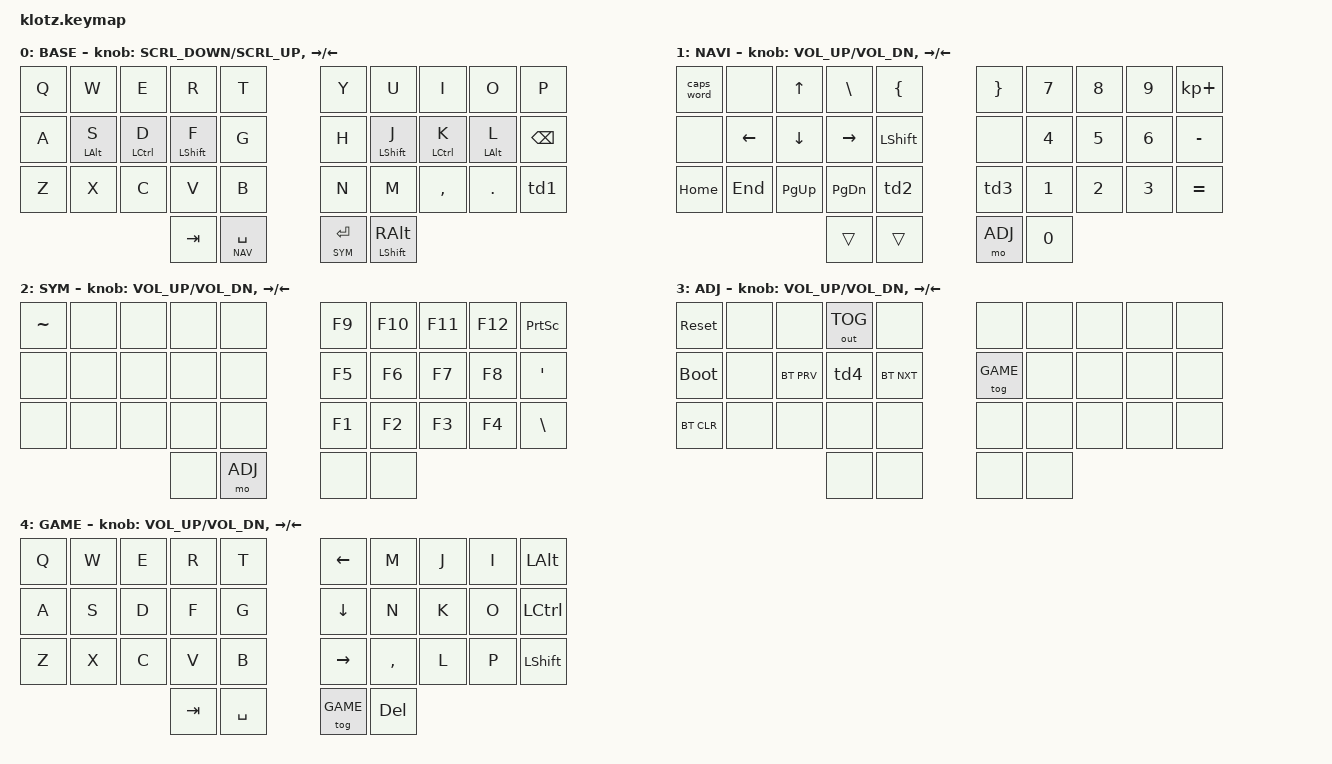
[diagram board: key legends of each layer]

//                                      █         ██        ▄▀▀▀▀▀▀▀▀▀▀█▀▀▀▀▀▀▀▀█▀▀▀▀▀▀▀▀▀▀█
//                                      █        █ █      ▄▀            ▀▄      █         █
//                                      █       █  █    ▄▀                ▀▄    █        █
//                                      █      █   █   █                    █   █       █
//                                      █     █    █   █                    █   █      █
//                                      █    █     █   █                    █   █  ▀▀▀█▀▀▀▀
//                                      █   █ █    █   █                    █   █    █
//                                      █  █   █   █   █                    █   █   █
//                                      █ █     █  █    ▀▄                ▄▀    █  █
//                                      ██       █ █      ▀▄            ▄▀      █ █
//                                      █         ██▄▄▄▄▄▄▄▄█▄▄▄▄▄▄▄▄▄▄▀        ██▄▄▄▄▄▄▄▄▄▄
//
// ▄▄▄▄▄▄▄▄▄▄▄▄▄▄▄▄▄▄▄▄▄▄▄▄▄▄▄▄▄▄▄▄▄▄▄▄▄▄▄▄▄▄▄▄▄▄▄▄▄▄▄▄▄▄▄▄▄▄▄▄▄▄▄▄▄▄▄▄▄▄▄▄▄▄▄▄▄▄▄▄▄▄▄▄▄▄▄▄▄▄▄▄▄▄▄▄▄▄▄▄▄▄▄▄▄▄▄▄▄▄▄▄▄▄▄▄▄▄▄▄▄▄▄▄▄
       

#include <behaviors.dtsi>
#include <dt-bindings/zmk/keys.h>
#include <dt-bindings/zmk/bt.h>
#include <dt-bindings/zmk/outputs.h>
#include <dt-bindings/zmk/ext_power.h>
#include <dt-bindings/zmk/hid_usage.h>
#include <dt-bindings/zmk/hid_usage_pages.h>
#include <dt-bindings/zmk/modifiers.h>
#include <behaviors/mouse_keys.dtsi>

#define ZMK_POINTING_DEFAULT_SCRL_VAL 20
#include <dt-bindings/zmk/pointing.h>

#define BASE 0
#define NAV  1
#define SYM  2
#define ADJ  3
#define GAME 4

#define COMBO(NAME, BINDINGS, KEYPOS) \
  combo_##NAME { \
    timeout-ms = <50>; \
    bindings = <BINDINGS>; \
    key-positions = <KEYPOS>; \
    layers = <0>; \
  };

&mt {
  tapping-term-ms = <240>;
  flavor = "balanced";
  quick-tap-ms = <150>;
};

&lt {
    tapping-term-ms = <240>;
    flavor = "balanced";
    quick-tap-ms = <150>;
};

/{
        combos {
                compatible = "zmk,combos";
                                              
	        COMBO(ctrl+c, &kp LC(C), 21 22)
                COMBO(ctrl+v, &kp LC(V), 22 23)
                COMBO(ctrl+x, &kp LC(X), 20 21)
                COMBO(win, &kp LGUI, 20 31)
                COMBO(dcq, &kp LS(Q), 00 10)
                COMBO(dcw, &kp LS(W), 01 11)
                COMBO(dce, &kp LS(E), 02 12)
                COMBO(dcr, &kp LS(R), 03 13)
                COMBO(dct, &kp LS(T), 04 14)
		COMBO(del, &kp DEL, 14 24)
		COMBO(semi, &kp SEMI, 19 29)
		COMBO(esc, &kp ESC, 00 31)
		COMBO(right, &kp RIGHT, 13 14)
    };

        behaviors {
        hm: homerow_mods {
            compatible = "zmk,behavior-hold-tap";
            label = "HOMEROW_MODS";
            #binding-cells = <2>;
            flavor = "tap-preferred";
            tapping-term-ms = <170>;
            quick-tap-ms = <100>;
            global-quick-tap;
            bindings =
                <&kp>,
                <&kp>;
        };
    };

	behaviors {
	td0: tap_dance_0 {
        compatible = "zmk,behavior-tap-dance";
        #binding-cells = <0>;
        tapping-term-ms = <300>;
        bindings = <&sys_reset>, <&bootloader>;
        };	
        td1: tap_dance_1 {
        compatible = "zmk,behavior-tap-dance";
        #binding-cells = <0>;
        tapping-term-ms = <300>;
        bindings = <&kp FSLH>, <&kp QMARK>;
	};
	td2: tap_dance_2 {
        compatible = "zmk,behavior-tap-dance";
        #binding-cells = <0>;
        tapping-term-ms = <200>;
        bindings = <&kp LPAR>, <&kp LBKT>, <&kp LBRC>;
	};
	td3: tap_dance_3 {
        compatible = "zmk,behavior-tap-dance";
        #binding-cells = <0>;
        tapping-term-ms = <200>;
        bindings = <&kp RPAR>, <&kp RBKT>, <&kp RBRC>;    
        }; 
	td4: tap_dance_4 {
        compatible = "zmk,behavior-tap-dance";
        #binding-cells = <0>;
        tapping-term-ms = <300>;
        bindings = <&bt BT_SEL 0>, <&bt BT_SEL 1>, <&bt BT_SEL 2>, <&bt BT_SEL 3>, <&bt BT_SEL 4>;
        };
};
        inc_dec_msc: sensor_rotation_scroll {
            compatible = "zmk,behavior-sensor-rotate-var";
            #sensor-binding-cells = <2>;
            bindings = <&msc>, <&msc>;
            tap-ms = <200>;
        };
  

    macros {
       
    };

        keymap {
                compatible = "zmk,keymap";
// ▄▄▄▄▄▄▄▄▄▄▄▄▄▄▄▄▄▄▄▄▄▄▄▄▄▄▄▄▄▄▄▄▄▄▄▄▄▄▄▄▄▄▄▄▄▄▄▄▄▄▄▄▄▄▄▄▄▄▄▄▄▄▄▄▄▄▄▄▄▄▄▄▄▄▄▄▄▄▄▄▄▄▄▄▄▄▄▄▄▄▄▄▄▄▄▄▄▄▄▄▄▄▄▄▄▄▄▄▄▄▄▄▄▄▄▄▄▄▄▄▄▄▄▄▄


                base_layer {
// ┏━━━━━━━━━━━━━━━━━━━━━━━━━━━━━━━━━━━━━━━┓
label= "BASE"                              ;
// ┗━━━━━━━━━━━━━━━━━━━━━━━━━━━━━━━━━━━━━━━┛
// ┏━━━━━━━━━━━┳━━━━━━━━━━━┳━━━━━━━━━━━┳━━━━━━━━━━━┳━━━━━━━━━━━┓   ┏━━━━━━━━━━━┳━━━━━━━━━━━┳━━━━━━━━━━━┳━━━━━━━━━━━┳━━━━━━━━━━━┓
// ┃     Q     ┃     W     ┃     F     ┃     P     ┃     G     ┃   ┃     J     ┃     L     ┃     U     ┃     Y     ┃     ;     ┃
// ┣━━━━━━━━━━━╋━━━━━━━━━━━╋━━━━━━━━━━━╋━━━━━━━━━━━╋━━━━━━━━━━━┫   ┣━━━━━━━━━━━╋━━━━━━━━━━━╋━━━━━━━━━━━╋━━━━━━━━━━━╋━━━━━━━━━━━┫
// ┃     A     ┃     R     ┃     S     ┃     T     ┃     D     ┃   ┃     H     ┃     N     ┃     E     ┃     I     ┃     O     ┃
// ┣━━━━━━━━━━━╋━━━━━━━━━━━╋━━━━━━━━━━━╋━━━━━━━━━━━╋━━━━━━━━━━━┫   ┣━━━━━━━━━━━╋━━━━━━━━━━━╋━━━━━━━━━━━╋━━━━━━━━━━━╋━━━━━━━━━━━┫
// ┃     Z     ┃     X     ┃     C     ┃     V     ┃     B     ┃   ┃     K     ┃     M     ┃     ,     ┃     .     ┃     /     ┃
// ┗━━━━━━━━━━━┻━━━━━━━━━━━┻━━━━━━━━━━━╋━━━━━━━━━━━╋━━━━━━━━━━━┫   ┣━━━━━━━━━━━╋━━━━━━━━━━━╋━━━━━━━━━━━┻━━━━━━━━━━━┻━━━━━━━━━━━┛
//                                     ┃    TAB    ┃    SPC    ┃   ┃   ENTER   ┃   BSPC    ┃
//                                     ┗━━━━━━━━━━━┻━━━━━━━━━━━┛   ┗━━━━━━━━━━━┻━━━━━━━━━━━┛
 bindings = <
// ╷           ╷           ╷           ╷           ╷           ╷   ╷           ╷           ╷           ╷           ╷           ╷

    &kp Q       &kp W       &kp E       &kp R       &kp T           &kp Y       &kp U         &kp I       &kp O       &kp P
    &kp A       &hm LALT S  &hm LCTRL D &hm LSHFT F &kp G           &kp H       &hm LSHFT J   &hm LCTRL K &hm LALT L  &kp BSPC
    &kp Z       &kp X       &kp C       &kp V       &kp B           &kp N       &kp M         &kp COMMA   &kp DOT     &td1
                                        &kp TAB     &lt NAV SPACE   &lt SYM RET  &mt LSHFT RALT    
                        >;
           	sensor-bindings = <&inc_dec_msc SCRL_DOWN SCRL_UP &inc_dec_kp RIGHT LEFT>;
                };

// ▄▄▄▄▄▄▄▄▄▄▄▄▄▄▄▄▄▄▄▄▄▄▄▄▄▄▄▄▄▄▄▄▄▄▄▄▄▄▄▄▄▄▄▄▄▄▄▄▄▄▄▄▄▄▄▄▄▄▄▄▄▄▄▄▄▄▄▄▄▄▄▄▄▄▄▄▄▄▄▄▄▄▄▄▄▄▄▄▄▄▄▄▄▄▄▄▄▄▄▄▄▄▄▄▄▄▄▄▄▄▄▄▄▄▄▄▄▄▄▄▄▄▄▄▄


                nav_layer {
// ┏━━━━━━━━━━━━━━━━━━━━━━━━━━━━━━━━━━━━━━━┓
label= "NAVI"                              ;
// ┗━━━━━━━━━━━━━━━━━━━━━━━━━━━━━━━━━━━━━━━┛
// ┏━━━━━━━━━━━┳━━━━━━━━━━━┳━━━━━━━━━━━┳━━━━━━━━━━━┳━━━━━━━━━━━┓   ┏━━━━━━━━━━━┳━━━━━━━━━━━┳━━━━━━━━━━━┳━━━━━━━━━━━┳━━━━━━━━━━━┓
// ┃           ┃           ┃     UP    ┃           ┃     {     ┃   ┃     }     ┃     7     ┃     8     ┃     9     ┃     +     ┃
// ┣━━━━━━━━━━━╋━━━━━━━━━━━╋━━━━━━━━━━━╋━━━━━━━━━━━╋━━━━━━━━━━━┫   ┣━━━━━━━━━━━╋━━━━━━━━━━━╋━━━━━━━━━━━╋━━━━━━━━━━━╋━━━━━━━━━━━┫
// ┃   SHIFT   ┃   LEFT    ┃    DOWN   ┃   RIGHT   ┃     [     ┃   ┃     ]     ┃     4     ┃     5     ┃     6     ┃     -     ┃
// ┣━━━━━━━━━━━╋━━━━━━━━━━━╋━━━━━━━━━━━╋━━━━━━━━━━━╋━━━━━━━━━━━┫   ┣━━━━━━━━━━━╋━━━━━━━━━━━╋━━━━━━━━━━━╋━━━━━━━━━━━╋━━━━━━━━━━━┫
// ┃           ┃   P UP    ┃  C LOCK   ┃  P DOWN   ┃     (     ┃   ┃     )     ┃     1     ┃     2     ┃     3     ┃     *     ┃
// ┗━━━━━━━━━━━┻━━━━━━━━━━━┻━━━━━━━━━━━╋━━━━━━━━━━━╋━━━━━━━━━━━┫   ┣━━━━━━━━━━━╋━━━━━━━━━━━╋━━━━━━━━━━━┻━━━━━━━━━━━┻━━━━━━━━━━━┛
//                                     ┃           ┃           ┃   ┃    DEL    ┃     0     ┃  
//                                     ┗━━━━━━━━━━━┻━━━━━━━━━━━┛   ┗━━━━━━━━━━━┻━━━━━━━━━━━┛
 bindings = <
// ╷           ╷           ╷           ╷           ╷           ╷   ╷           ╷           ╷           ╷           ╷           ╷

    &caps_word  &none        &kp UP      &kp BSLH    &kp LBRC       &kp RBRC    &kp N7   &kp N8   &kp N9   &kp KP_PLUS
    &none       &kp LEFT     &kp DOWN    &kp RIGHT   &kp LSHFT      &none	&kp N4   &kp N5   &kp N6   &kp MINUS
    &kp HOME    &kp END      &kp PG_UP   &kp PG_DN   &td2           &td3        &kp N1   &kp N2   &kp N3   &kp EQUAL 
                                         &trans      &trans         &mo ADJ     &kp N0  
                        >;
		sensor-bindings = <&inc_dec_kp C_VOL_UP C_VOL_DN &inc_dec_kp RIGHT LEFT>;
                };

// ▄▄▄▄▄▄▄▄▄▄▄▄▄▄▄▄▄▄▄▄▄▄▄▄▄▄▄▄▄▄▄▄▄▄▄▄▄▄▄▄▄▄▄▄▄▄▄▄▄▄▄▄▄▄▄▄▄▄▄▄▄▄▄▄▄▄▄▄▄▄▄▄▄▄▄▄▄▄▄▄▄▄▄▄▄▄▄▄▄▄▄▄▄▄▄▄▄▄▄▄▄▄▄▄▄▄▄▄▄▄▄▄▄▄▄▄▄▄▄▄▄▄▄▄▄


                sim_layer {
// ┏━━━━━━━━━━━━━━━━━━━━━━━━━━━━━━━━━━━━━━━┓
label= "SYM"                               ;
// ┗━━━━━━━━━━━━━━━━━━━━━━━━━━━━━━━━━━━━━━━┛
// ┏━━━━━━━━━━━┳━━━━━━━━━━━┳━━━━━━━━━━━┳━━━━━━━━━━━┳━━━━━━━━━━━┓   ┏━━━━━━━━━━━┳━━━━━━━━━━━┳━━━━━━━━━━━┳━━━━━━━━━━━┳━━━━━━━━━━━┓
// ┃     !     ┃     @     ┃     #     ┃     $     ┃     %     ┃   ┃     ˆ     ┃     &     ┃     Ü     ┃     '     ┃     "     ┃
// ┣━━━━━━━━━━━╋━━━━━━━━━━━╋━━━━━━━━━━━╋━━━━━━━━━━━╋━━━━━━━━━━━┫   ┣━━━━━━━━━━━╋━━━━━━━━━━━╋━━━━━━━━━━━╋━━━━━━━━━━━╋━━━━━━━━━━━┫
// ┃     Ä     ┃           ┃    SZ     ┃           ┃           ┃   ┃   MUTE    ┃   YEN     ┃   EURO    ┃  POUND    ┃     Ö     ┃
// ┣━━━━━━━━━━━╋━━━━━━━━━━━╋━━━━━━━━━━━╋━━━━━━━━━━━╋━━━━━━━━━━━┫   ┣━━━━━━━━━━━╋━━━━━━━━━━━╋━━━━━━━━━━━╋━━━━━━━━━━━╋━━━━━━━━━━━┫
// ┃  EMAIL1   ┃  EMAIL2   ┃           ┃           ┃           ┃   ┃   VOL-    ┃   VOL+    ┃   LAST    ┃   NEXT    ┃     \     ┃
// ┗━━━━━━━━━━━┻━━━━━━━━━━━┻━━━━━━━━━━━╋━━━━━━━━━━━╋━━━━━━━━━━━┫   ┣━━━━━━━━━━━╋━━━━━━━━━━━╋━━━━━━━━━━━┻━━━━━━━━━━━┻━━━━━━━━━━━┛
//                                     ┃    GIF    ┃  ADJUST   ┃   ┃           ┃   PLAY    ┃   
//                                     ┗━━━━━━━━━━━┻━━━━━━━━━━━┛   ┗━━━━━━━━━━━┻━━━━━━━━━━━┛
 bindings = <
// ╷           ╷           ╷           ╷           ╷           ╷   ╷           ╷           ╷           ╷           ╷           ╷

    &kp TILDE   &none       &none       &none       &none           &kp F9      &kp F10    &kp F11     &kp F12    &kp PSCRN       
    &none       &none       &none       &none       &none           &kp F5      &kp F6     &kp F7      &kp F8     &kp APOSTROPHE 
    &none       &none       &none       &none       &none           &kp F1      &kp F2     &kp F3     &kp F4      &kp BSLH      
                                        &none       &mo ADJ         &none       &none
                        >;
                sensor-bindings = <&inc_dec_kp C_VOL_UP C_VOL_DN &inc_dec_kp RIGHT LEFT>;
                };

// ▄▄▄▄▄▄▄▄▄▄▄▄▄▄▄▄▄▄▄▄▄▄▄▄▄▄▄▄▄▄▄▄▄▄▄▄▄▄▄▄▄▄▄▄▄▄▄▄▄▄▄▄▄▄▄▄▄▄▄▄▄▄▄▄▄▄▄▄▄▄▄▄▄▄▄▄▄▄▄▄▄▄▄▄▄▄▄▄▄▄▄▄▄▄▄▄▄▄▄▄▄▄▄▄▄▄▄▄▄▄▄▄▄▄▄▄▄▄▄▄▄▄▄▄▄


                adjust_layer {
// ┏━━━━━━━━━━━━━━━━━━━━━━━━━━━━━━━━━━━━━━━┓
label= "ADJ"                               ;
// ┗━━━━━━━━━━━━━━━━━━━━━━━━━━━━━━━━━━━━━━━┛
// ┏━━━━━━━━━━━┳━━━━━━━━━━━┳━━━━━━━━━━━┳━━━━━━━━━━━┳━━━━━━━━━━━┓   ┏━━━━━━━━━━━┳━━━━━━━━━━━┳━━━━━━━━━━━┳━━━━━━━━━━━┳━━━━━━━━━━━┓
// ┃   RESET   ┃ BT CLEAR  ┃  OUT TOG  ┃           ┃           ┃   ┃           ┃    F7     ┃    F8     ┃    F9     ┃    F12    ┃
// ┣━━━━━━━━━━━╋━━━━━━━━━━━╋━━━━━━━━━━━╋━━━━━━━━━━━╋━━━━━━━━━━━┫   ┣━━━━━━━━━━━╋━━━━━━━━━━━╋━━━━━━━━━━━╋━━━━━━━━━━━╋━━━━━━━━━━━┫
// ┃ BOOTLOAD  ┃ BT NEXT   ┃           ┃           ┃           ┃   ┃           ┃    F4     ┃    F5     ┃    F6     ┃    F11    ┃
// ┣━━━━━━━━━━━╋━━━━━━━━━━━╋━━━━━━━━━━━╋━━━━━━━━━━━╋━━━━━━━━━━━┫   ┣━━━━━━━━━━━╋━━━━━━━━━━━╋━━━━━━━━━━━╋━━━━━━━━━━━╋━━━━━━━━━━━┫
// ┃           ┃ BT PREV   ┃           ┃           ┃           ┃   ┃           ┃    F1     ┃    F2     ┃    F3     ┃    F10    ┃
// ┗━━━━━━━━━━━┻━━━━━━━━━━━┻━━━━━━━━━━━╋━━━━━━━━━━━╋━━━━━━━━━━━┫   ┣━━━━━━━━━━━╋━━━━━━━━━━━╋━━━━━━━━━━━┻━━━━━━━━━━━┻━━━━━━━━━━━┛
//                                     ┃           ┃           ┃   ┃           ┃           ┃
//                                     ┗━━━━━━━━━━━┻━━━━━━━━━━━┛   ┗━━━━━━━━━━━┻━━━━━━━━━━━┛
 bindings = <
// ╷           ╷           ╷           ╷           ╷           ╷   ╷           ╷           ╷           ╷           ╷           ╷

    &sys_reset    &none     &none        &out OUT_TOG &none           &none       &none       &none       &none       &none
    &bootloader   &none     &bt BT_PRV   &td4         &bt BT_NXT      &tog GAME   &none       &none       &none       &none  
    &bt BT_CLR    &none     &none        &none        &none           &none       &none       &none       &none       &none    
                                         &none        &none           &none       &none
                        >;
          	sensor-bindings = <&inc_dec_kp C_VOL_UP C_VOL_DN &inc_dec_kp RIGHT LEFT>;
                };
        
// ▄▄▄▄▄▄▄▄▄▄▄▄▄▄▄▄▄▄▄▄▄▄▄▄▄▄▄▄▄▄▄▄▄▄▄▄▄▄▄▄▄▄▄▄▄▄▄▄▄▄▄▄▄▄▄▄▄▄▄▄▄▄▄▄▄▄▄▄▄▄▄▄▄▄▄▄▄▄▄▄▄▄▄▄▄▄▄▄▄▄▄▄▄▄▄▄▄▄▄▄▄▄▄▄▄▄▄▄▄▄▄▄▄▄▄▄▄▄▄▄▄▄▄▄▄


                game_layer {
// ┏━━━━━━━━━━━━━━━━━━━━━━━━━━━━━━━━━━━━━━━┓
label= "GAME"                               ;
// ┗━━━━━━━━━━━━━━━━━━━━━━━━━━━━━━━━━━━━━━━┛
// ┏━━━━━━━━━━━┳━━━━━━━━━━━┳━━━━━━━━━━━┳━━━━━━━━━━━┳━━━━━━━━━━━┓   ┏━━━━━━━━━━━┳━━━━━━━━━━━┳━━━━━━━━━━━┳━━━━━━━━━━━┳━━━━━━━━━━━┓
// ┃   RESET   ┃ BT CLEAR  ┃  OUT TOG  ┃           ┃           ┃   ┃           ┃    F7     ┃    F8     ┃    F9     ┃    F12    ┃
// ┣━━━━━━━━━━━╋━━━━━━━━━━━╋━━━━━━━━━━━╋━━━━━━━━━━━╋━━━━━━━━━━━┫   ┣━━━━━━━━━━━╋━━━━━━━━━━━╋━━━━━━━━━━━╋━━━━━━━━━━━╋━━━━━━━━━━━┫
// ┃ BOOTLOAD  ┃ BT NEXT   ┃           ┃           ┃           ┃   ┃           ┃    F4     ┃    F5     ┃    F6     ┃    F11    ┃
// ┣━━━━━━━━━━━╋━━━━━━━━━━━╋━━━━━━━━━━━╋━━━━━━━━━━━╋━━━━━━━━━━━┫   ┣━━━━━━━━━━━╋━━━━━━━━━━━╋━━━━━━━━━━━╋━━━━━━━━━━━╋━━━━━━━━━━━┫
// ┃           ┃ BT PREV   ┃           ┃           ┃           ┃   ┃           ┃    F1     ┃    F2     ┃    F3     ┃    F10    ┃
// ┗━━━━━━━━━━━┻━━━━━━━━━━━┻━━━━━━━━━━━╋━━━━━━━━━━━╋━━━━━━━━━━━┫   ┣━━━━━━━━━━━╋━━━━━━━━━━━╋━━━━━━━━━━━┻━━━━━━━━━━━┻━━━━━━━━━━━┛
//                                     ┃           ┃           ┃   ┃           ┃           ┃
//                                     ┗━━━━━━━━━━━┻━━━━━━━━━━━┛   ┗━━━━━━━━━━━┻━━━━━━━━━━━┛
 bindings = <
// ╷           ╷           ╷           ╷           ╷           ╷   ╷           ╷           ╷           ╷           ╷           ╷

    &kp Q       &kp W       &kp E       &kp R       &kp T           &kp LEFT       &kp M         &kp J       &kp I      &kp LALT
    &kp A       &kp S  		&kp D 		&kp F 		&kp G           &kp DOWN       &kp N		 &kp K 	     &kp O 	 	&kp LCTRL
    &kp Z       &kp X       &kp C       &kp V       &kp B           &kp RIGHT      &kp COMMA     &kp L 		 &kp P      &kp LSHFT
                                        &kp TAB     &kp SPACE   	&tog GAME 	   &kp DEL    
                        >;
          	sensor-bindings = <&inc_dec_kp C_VOL_UP C_VOL_DN &inc_dec_kp RIGHT LEFT>;
                };
        };
};
